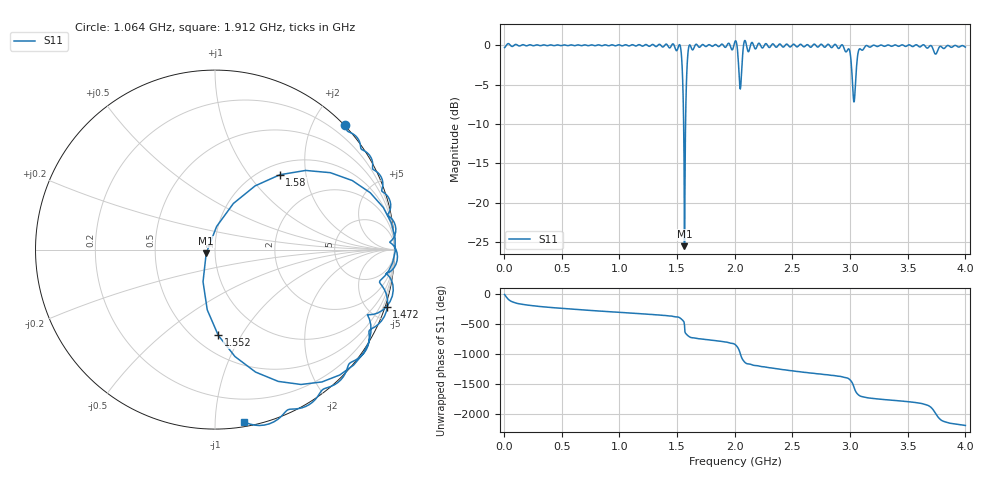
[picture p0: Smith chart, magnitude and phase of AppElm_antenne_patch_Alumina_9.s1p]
! TOUCHSTONE file generated by CST MICROWAVE STUDIO
! Date and time: Thu Jun  9 07:40:02 2022
! Project name: AppElm_antenne_patch_Alumina.cst
! Parameters = {L=30.5; W=48.07; e=0.035; h=1.6; lambda=0.190476; ls=90; w0=1.12; w1=0.373; ws=90; y0=14; y1=10}
! Header version: 2018
! Port assignment regex: !\s*Touchstone port\s*([0-9]+)\s*=\s*(CST MWS port|CST DS port)\s*([0-9]+|Zmin|Zmax)\s*\(\"(.*)\"\)(\s*mode\s*([0-9]+))?.*
! Touchstone port assignment:
! Touchstone port 1 = CST MWS port 1 ("")
# GHz S MA R 50
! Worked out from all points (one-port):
!   1000 points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, 4 MHz to 4 GHz, reference 50 ohm
!   lowest |S11| = -25.5 dB at 1.564 GHz (marker M1), VSWR 1.11, Z = 45.3 - j1.85 ohm
!   |S11| at or under -10 dB: 1.556 GHz to 1.573 GHz (16.81 MHz wide, 1.07 % of centre)
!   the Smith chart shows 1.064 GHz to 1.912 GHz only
!   S11 on the Smith chart (normalised r, x): 1.064 GHz: -0.01, +2.49; 1.472 GHz: -0.14, -6.18; 1.552 GHz: 0.65, -0.80; 1.58 GHz: 1.20, +1.43; 1.912 GHz: 0.03, -1.18
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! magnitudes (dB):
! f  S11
! 4 MHz  -0.3
! 504 MHz  0.0
! 1.004 GHz  0.0
! 1.064 GHz  0.0
! 1.472 GHz  0.1
! 1.504 GHz  -0.5
! 1.532 GHz  -0.5
! 1.54 GHz  -1.8
! 1.552 GHz  -6.4
! 1.564 GHz  -25.5
! 1.58 GHz  -5.2
! 1.596 GHz  -0.7
! 1.612 GHz  0.0
! 1.912 GHz  -0.2
! 2.004 GHz  0.5
! 2.048 GHz  -5.6
! 2.092 GHz  0.5
! 2.504 GHz  0.1
! 2.928 GHz  0.1
! 2.988 GHz  -0.4
! 3.004 GHz  -1.4
! 3.024 GHz  -5.6
! 3.036 GHz  -7.2
! 3.072 GHz  -0.8
! 3.092 GHz  -0.5
! 3.504 GHz  0.0
! 3.74 GHz  -1.1
! 4 GHz  -0.2
